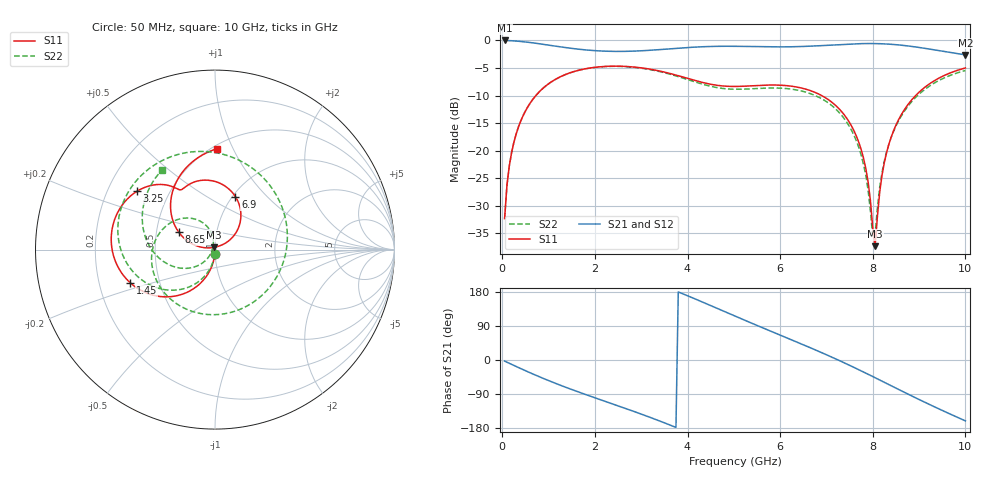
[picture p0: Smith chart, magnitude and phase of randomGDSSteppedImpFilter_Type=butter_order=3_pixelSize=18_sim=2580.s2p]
! freq	dB(S11)	phase(S11)	dB(S12)	phase(S12)
!  dB(S21)	phase(S21)	dB(S22)	phase(S22)
!S-par simulation data
#  GHz  S  DB  R 50
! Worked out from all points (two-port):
!   200 points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, 50 MHz to 10 GHz, reference 50 ohm
!   highest |S21| = 0.00 dB at 50 MHz (marker M1); lowest = -2.6 dB at 10 GHz (marker M2)
!   |S21| within 3 dB of the highest: start of sweep to end of sweep
!   lowest |S11| = -37.3 dB at 8.05 GHz (marker M3), VSWR 1.03, Z = 49.4 + j1.23 ohm
!   |S11| at or under -10 dB: start of sweep to 724.8 MHz; 6.898 GHz to 8.925 GHz (2.027 GHz wide, 25.6 % of centre)
!   |S22| runs from -35.7 to -4.7 dB; largest |S21 - S12| = 0
!   S11 on the Smith chart (normalised r, x): 50 MHz: 1.00, -0.05; 1.45 GHz: 0.34, -0.17; 3.25 GHz: 0.33, +0.30; 6.9 GHz: 1.03, +0.68; 8.65 GHz: 0.65, +0.13; 10 GHz: 0.53, +0.87
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0.05  -32.31 -92.7  -0.00 -2.9  -0.00 -2.9  -32.31 -93.2
0.2  -20.36 -100.9  -0.05 -11.5  -0.05 -11.5  -20.37 -102.8
0.45  -13.63 -113.9  -0.23 -25.5  -0.23 -25.5  -13.63 -118.2
1.45  -5.90 -158.5  -1.39 -75.7  -1.39 -75.7  -5.92 -173.9
1.75  -5.21 -169.8  -1.68 -89.0  -1.68 -89.0  -5.23 170.8
2.4  -4.66 168.2  -1.99 -116.7  -1.99 -116.7  -4.69 137.5
3.25  -5.30 143.3  -1.75 -154.0  -1.75 -154.0  -5.38 88.4
3.4  -5.55 139.5  -1.66 -161.0  -1.66 -161.0  -5.65 78.4
4.25  -7.46 124.1  -1.17 156.7  -1.17 156.7  -7.75 10.1
5.05  -8.34 118.4  -1.07 114.6  -1.07 114.6  -8.85 -68.7
5.85  -8.08 104.5  -1.17 73.3  -1.17 73.3  -8.62 -137.6
6.7  -9.24 76.8  -1.02 29.8  -1.02 29.8  -9.80 164.1
6.9  -10.01 68.8  -0.94 19.2  -0.94 19.2  -10.59 151.3
7.7  -18.52 35.1  -0.59 -25.7  -0.59 -25.7  -19.45 103.9
7.9  -25.68 32.9  -0.56 -37.7  -0.56 -37.7  -27.20 102.0
8  -34.05 55.4  -0.56 -43.7  -0.56 -43.7  -35.71 139.3
8.05  -37.30 113.9  -0.57 -46.7  -0.57 -46.7  -35.22 -163.6
8.15  -27.50 167.0  -0.59 -52.8  -0.59 -52.8  -26.61 -131.8
8.35  -18.77 167.6  -0.67 -65.0  -0.67 -65.0  -18.74 -134.7
8.65  -12.99 154.3  -0.89 -83.3  -0.89 -83.3  -13.24 -151.7
9.35  -7.20 119.3  -1.74 -124.6  -1.74 -124.6  -7.62 164.0
10  -4.99 88.6  -2.62 -160.7  -2.62 -160.7  -5.45 123.4
